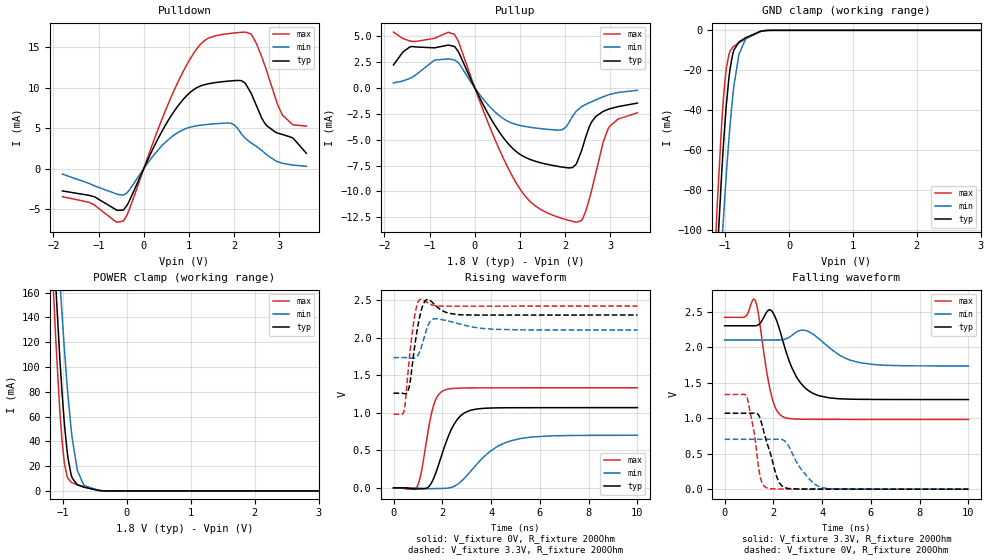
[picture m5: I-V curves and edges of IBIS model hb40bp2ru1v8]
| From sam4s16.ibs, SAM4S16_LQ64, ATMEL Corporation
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[Model] hb40bp2ru1v8
| config_pins "NO PIN CONFIG TO SEARCH"
Model_type   I/O
Polarity   Non-Inverting
Enable   Active-Low
Vinl = 0.4
Vinh = 1.4
Vmeas = 0.9
Vref = 0.9
Cref = 15pF
Rref = 200
|   typ   min   max
C_comp   3.058e-12   2.903e-12   3.215e-12
|C_comp (ON state)   3.059e-12   2.791e-12   3.319e-12
|C_comp (OFF state)   3.058e-12   3.014e-12   3.111e-12
[Voltage Range]   1.8   1.6   1.95
[Temperature Range]   25   125   -40
[Pullup Reference]   1.8   1.6   1.95
[Pulldown Reference]   0   0   0
[Power Clamp Reference]   1.8   1.6   1.95
[GND Clamp Reference]   0   0   0
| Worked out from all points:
|   slope of the pulldown table from 0 to 0.27 V, typ, clamps not added: 84.5 ohm
|   slope of the pullup table from 0 to 0.27 V, typ, clamps not added: 117 ohm
|   GND clamp passes 1 mA (typ) near -0.48 V on its own axis
|   POWER clamp passes 1 mA (typ) near -0.50 V on its own axis
|   falling waveform, V_fixture 3.3V, R_fixture 200Ohm: 20-80 % time 798ps typ, 1.08ns min, 437ps max; typ from 2.3 V to 1.26 V
|   rising waveform, V_fixture 0V, R_fixture 200Ohm: 20-80 % time 751ps typ, 1.37ns min, 443ps max; typ from 0 V to 1.07 V
|   rising waveform, V_fixture 3.3V, R_fixture 200Ohm: 20-80 % time 260ps typ, 211ps min, 275ps max; typ from 1.26 V to 2.3 V
|   falling waveform, V_fixture 0V, R_fixture 200Ohm: 20-80 % time 531ps typ, 788ps min, 353ps max; typ from 1.07 V to 0.001 V
[Pulldown]
|   Voltage   I(typ)   I(min)   I(max)
-1.8V     -2.761mA   -684.2uA   -3.471mA
-450mV    -5.113mA   -3.275mA   -6.47mA
318.4mV   3.724mA    2.31mA     4.889mA
779.9mV   7.903mA    4.529mA    10.95mA
1.234V    10.14mA    5.331mA    15.2mA
1.548V    10.58mA    5.513mA    16.33mA
1.931V    10.82mA    5.579mA    16.69mA
2.162V    10.85mA    4.292mA    16.81mA
2.373V    9.322mA    3.172mA    16.61mA
2.675V    5.611mA    1.921mA    12.78mA
3.069V    4.212mA    661.6uA    6.6mA
3.598V    1.888mA    286.1uA    5.243mA
[GND Clamp]
|   Voltage   I(typ)   I(min)   I(max)
-1.8V     -645mA     -627.4mA   -664.1mA
-1.141V   -124.1mA   -159.1mA   -99.38mA
-1.12V    -110.4mA   -146.3mA   -85.13mA
-1.049V   -68.94mA   -106.1mA   -44.24mA
-1.021V   -54.36mA   -91.01mA   -31.55mA
-986.9mV  -39.5mA    -74.48mA   -20.48mA
-922.5mV  -19.2mA    -47.17mA   -10.43mA
-862.2mV  -9.825mA   -27.67mA   -7.925mA
-784mV    -5.844mA   -12.06mA   -6.247mA
-678.4mV  -3.704mA   -4.205mA   -4.197mA
-335.6mV  -49.75uA   -87.05uA   -43.74uA
3.598V    0A         0A         0A
[Pullup]
|   Voltage   I(typ)   I(min)   I(max)
-1.8V     2.215mA    479.2uA    5.386mA
-1.438V   3.955mA    913.6uA    4.524mA
-450mV    4.002mA    2.7mA      5.166mA
318.4mV   -2.69mA    -1.763mA   -3.646mA
855.9mV   -5.918mA   -3.452mA   -8.721mA
1.24V     -6.933mA   -3.813mA   -11.03mA
1.854V    -7.587mA   -4.078mA   -12.49mA
2.162V    -7.692mA   -2.762mA   -12.88mA
2.359V    -6.109mA   -1.829mA   -12.81mA
2.586V    -3.285mA   -1.333mA   -9.885mA
2.948V    -2.075mA   -684.9uA   -3.976mA
3.598V    -1.468mA   -236.3uA   -2.397mA
[POWER Clamp]
|   Voltage   I(typ)   I(min)   I(max)
-1.8V     1.013A     972.6mA    1.054A
-1.158V   211.2mA    268.7mA    170.6mA
-1.139V   191.4mA    250.6mA    149.4mA
-1.115V   166.9mA    228mA      123.7mA
-1.049V   106.2mA    169.9mA    63.59mA
-986.9mV  59.37mA    120.2mA    25.84mA
-937.8mV  32.75mA    86.22mA    12.09mA
-873.6mV  13.04mA    50.11mA    7.077mA
-776mV    4.879mA    16.53mA    5.06mA
-672mV    2.976mA    4.384mA    3.358mA
-450mV    457.1uA    573.9uA    481.7uA
3.598V    0A         0A         0A
[Ramp]
R_load = 200
|   typ   min   max
dV/dt_r   0.640637/7.48052e-10   0.41996/1.37435e-09   0.799006/4.43394e-10
dV/dt_f   0.622957/7.95196e-10   0.219997/1.06188e-09   0.862535/4.36675e-10
[Falling Waveform]
V_fixture = 3.3V
V_fixture_min = 2.85V
V_fixture_max = 3.6V
R_fixture = 200Ohm
C_fixture = 0F
|   Time   V(typ)   V(min)   V(max)
0s        2.3V       2.101V     2.42V
850ps     2.3V       2.1V       2.427V
1.25ns    2.3V       2.101V     2.66V
1.375ns   2.312V     2.101V     2.495V
1.925ns   2.512V     2.1V       1.317V
2.425ns   2.045V     2.107V     1.015V
2.975ns   1.567V     2.219V     986.6mV
3.85ns    1.319V     2.122V     983.5mV
5.5ns     1.265V     1.784V     982.7mV
10ns      1.262V     1.734V     981.9mV
[Rising Waveform]
V_fixture = 0V
V_fixture_min = 0V
V_fixture_max = 0V
R_fixture = 200Ohm
C_fixture = 0F
|   Time   V(typ)   V(min)   V(max)
0s        0V         0V         0V
975ps     -13.94mV   -1.994mV   21.34mV
1.15ns    -12.62mV   -5.636mV   227.5mV
1.625ns   110.9mV    -9.8mV     1.077V
2.075ns   532.9mV    -6.606mV   1.298V
2.6ns     903.8mV    42.08mV    1.326V
3.2ns     1.035V     235.5mV    1.33V
4.15ns    1.064V     528.7mV    1.331V
5.15ns    1.066V     653.4mV    1.331V
10ns      1.068V     699.9mV    1.332V
[Rising Waveform]
V_fixture = 3.3V
V_fixture_min = 2.85V
V_fixture_max = 3.6V
R_fixture = 200Ohm
C_fixture = 0F
|   Time   V(typ)   V(min)   V(max)
0s        1.26V      1.733V     980.6mV
425ps     1.255V     1.733V     1.015V
625ps     1.32V      1.729V     1.642V
825ps     1.777V     1.724V     2.196V
950ps     2.06V      1.743V     2.416V
1.1ns     2.316V     1.833V     2.51V
1.35ns    2.502V     2.104V     2.472V
1.675ns   2.442V     2.25V      2.427V
2.625ns   2.305V     2.187V     2.417V
10ns      2.299V     2.1V       2.418V
[Falling Waveform]
|Gnd
V_fixture = 0V
V_fixture_min = 0V
V_fixture_max = 0V
R_fixture = 200Ohm
C_fixture = 0F
|   Time   V(typ)   V(min)   V(max)
0s        1.069V     702mV      1.333V
900ps     1.069V     701.8mV    1.313V
1.2ns     1.071V     701.8mV    829mV
1.45ns    1.004V     701.9mV    197.1mV
1.725ns   668.1mV    701.9mV    19.65mV
2.15ns    163.8mV    704.3mV    3.971mV
2.55ns    15.06mV    650.4mV    2.561mV
3.15ns    3.028mV    278.6mV    1.974mV
3.9ns     1.923mV    33.46mV    1.645mV
10ns      911.6uV    899.5uV    888.2uV
